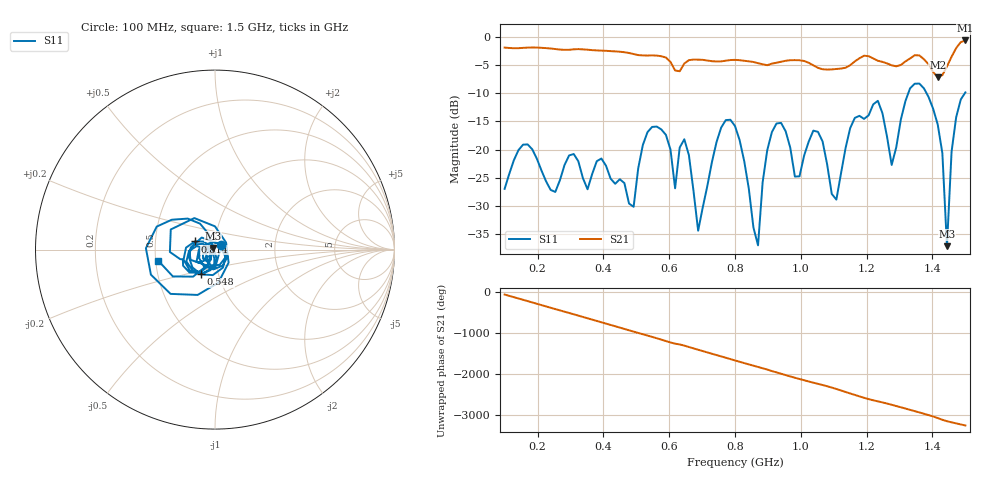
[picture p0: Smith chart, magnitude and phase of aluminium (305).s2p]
! NanoVNA-App
! Date: 2025-09-25 14:57:39
! Start: 100MHz Stop: 1,5GHz Points: 101
! S-Parameter data: F S11 S21 S12 S22
# Hz S RI R 50
!  Frequency  S11_Real  S11_Imag  S21_Real  S21_Imag  S12_Real  S12_Imag  S22_Real  S22_Imag
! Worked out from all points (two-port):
!   101 points, 100 MHz to 1.5 GHz, reference 50 ohm
!   highest |S21| = -0.65 dB at 1.5 GHz (marker M1); lowest = -7.2 dB at 1.416 GHz (marker M2)
!   |S21| within 3 dB of the highest: start of sweep to 588.6 MHz; 1.457 GHz to end of sweep (the widest 2 of 4)
!   lowest |S11| = -37.1 dB at 1.444 GHz (marker M3), VSWR 1.03, Z = 49 + j0.898 ohm
!   |S11| at or under -10 dB: start of sweep to 1.327 GHz; 1.382 GHz to 1.498 GHz (116.5 MHz wide, 8.09 % of centre)
!   S12 and S22 are empty: the file has one direction only
!   S11 on the Smith chart (normalised r, x): 100 MHz: 1.07, +0.06; 548 MHz: 0.82, -0.23; 814 MHz: 0.79, +0.07; 1.5 GHz: 0.52, -0.07
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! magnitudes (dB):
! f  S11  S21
! 100 MHz  -27.0  -1.9
! 338 MHz  -25.1  -2.2
! 492 MHz  -30.1  -3.1
! 548 MHz  -16.0  -3.3
! 576 MHz  -16.4  -3.5
! 618 MHz  -26.9  -6.0
! 646 MHz  -18.2  -4.7
! 688 MHz  -34.4  -4.1
! 800 MHz  -15.8  -4.1
! 814 MHz  -18.3  -4.2
! 870 MHz  -37.0  -4.7
! 912 MHz  -16.9  -4.8
! 982 MHz  -24.8  -4.1
! 1.038 GHz  -16.6  -5.1
! 1.108 GHz  -28.9  -5.7
! 1.234 GHz  -11.3  -4.3
! 1.276 GHz  -22.7  -5.1
! 1.346 GHz  -8.3  -3.3
! 1.416 GHz  -15.6  -7.2
! 1.444 GHz  -37.1  -5.3
! 1.458 GHz  -20.4  -3.5
! 1.5 GHz  -9.9  -0.7
